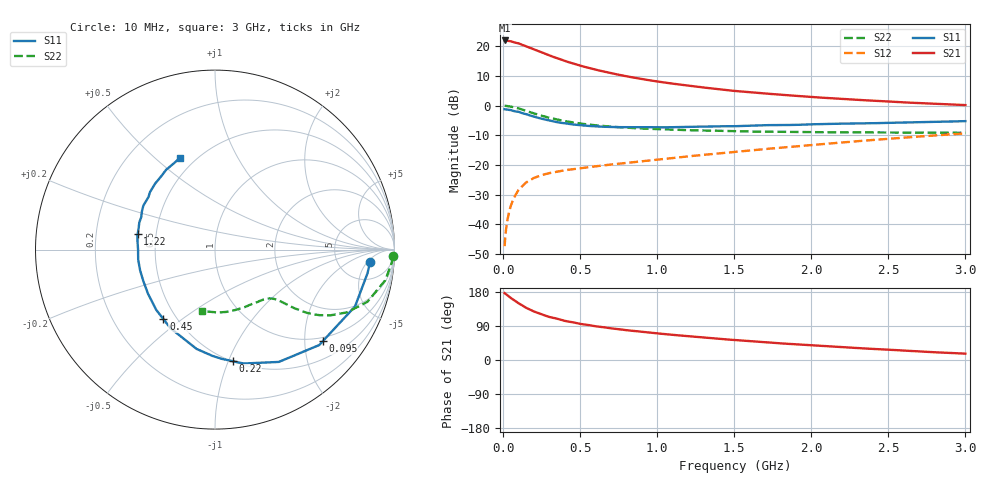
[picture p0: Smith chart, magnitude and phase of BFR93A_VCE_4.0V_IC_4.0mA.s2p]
! Infineon Technologies  Discrete & RF Semiconductors
! BFR93A
! VCE =  4.0 V,  IC =  4.0 mA
! Common Emitter S-Parameters:  Nov 2015
# GHz  S  MA  R  50
!  f  S11  S21  S12  S22
! GHz  MAG  ANG  MAG  ANG  MAG  ANG  MAG  ANG
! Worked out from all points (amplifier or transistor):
!   180 points, 10 MHz to 3 GHz, reference 50 ohm
!   highest |S21| = 21.9 dB at 10 MHz (marker M1)
!   |S21| within 3 dB of that: start of sweep to 201.2 MHz
!   unconditionally stable (mu >= 1): 810.8 MHz to 2.668 GHz
!   at 160 MHz: K = 0.29, MSG = 22.7 dB, |S12| = -25.6 dB
!   at 1.22 GHz: K = 1.12, MAG = 9.7 dB, |S12| = -17.0 dB
!   at 3 GHz: K = 0.95, MSG = 4.8 dB, |S12| = -9.3 dB
!   S11 on the Smith chart (normalised r, x): 10 MHz: 11, -6; 95 MHz: 0.90, -2.43; 220 MHz: 0.50, -1.04; 450 MHz: 0.42, -0.43; 1.22 GHz: 0.39, +0.08; 3 GHz: 0.41, +0.61
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0.01  0.8669 -4.5  12.47 176.5  0.0043 87.2  0.9912 -2.2
0.025  0.8538 -11.0  12.34 171.6  0.0105 82.5  0.983 -5.2
0.05  0.842 -22.1  12.08 163.6  0.0205 78.3  0.9642 -10.2
0.095  0.7881 -40.4  11.22 151.3  0.0361 69.1  0.9034 -18.0
0.1  0.7874 -42.5  11.16 149.8  0.0379 68.5  0.8977 -18.9
0.15  0.7197 -60.4  9.966 137.6  0.0508 60.4  0.8151 -25.4
0.2  0.6544 -75.9  8.854 128.0  0.0605 55.4  0.7396 -29.7
0.22  0.6295 -81.0  8.423 125.0  0.0632 53.7  0.7134 -30.8
0.26  0.5926 -91.3  7.648 118.8  0.0685 51.1  0.6644 -33.0
0.3  0.5628 -100.5  6.973 113.6  0.0729 49.4  0.6232 -34.5
0.4  0.5035 -119.5  5.626 103.3  0.0814 47.1  0.5471 -36.5
0.45  0.4823 -126.6  5.146 99.7  0.0848 46.8  0.5225 -37.0
0.52  0.4631 -136.5  4.551 94.3  0.0895 46.7  0.4913 -37.7
0.6  0.4473 -146.4  4.014 89.1  0.0949 47.1  0.4646 -38.3
0.7  0.4363 -156.1  3.504 83.6  0.1017 48.1  0.4413 -39.1
0.9  0.4316 -172.6  2.791 74.5  0.1155 50.5  0.4106 -41.4
1.02  0.4288 179.7  2.499 69.5  0.1248 51.7  0.3998 -43.2
1.22  0.4395 168.7  2.137 62.1  0.1414 53.4  0.3844 -47.0
1.52  0.4509 155.5  1.747 52.1  0.1676 55.1  0.3698 -53.7
2.02  0.4849 137.8  1.384 38.2  0.2186 55.5  0.3568 -67.5
2.52  0.5141 123.7  1.161 26.7  0.2786 53.1  0.3512 -83.7
3  0.5472 110.9  1.019 16.8  0.341 48.8  0.3491 -102.1
